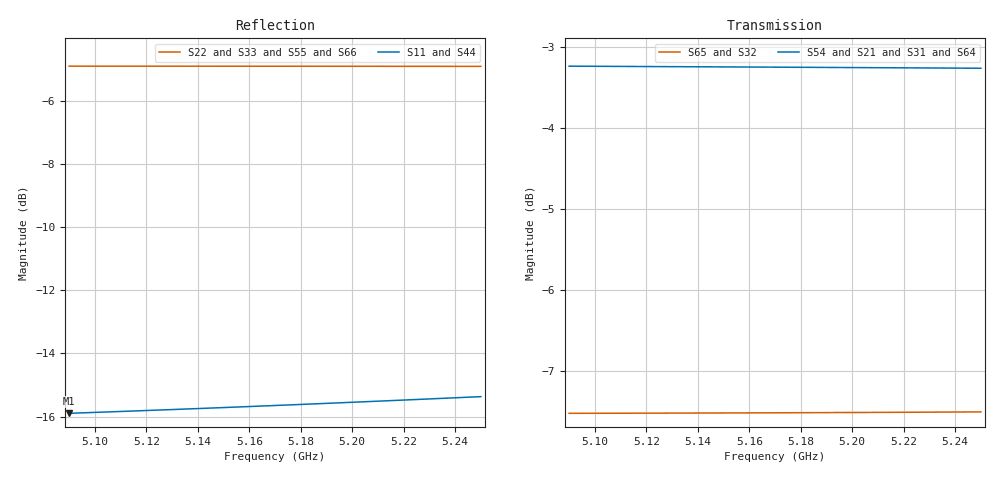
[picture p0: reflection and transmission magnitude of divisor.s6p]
! Touchstone file exported from HFSS 2024.2.0
!  File:  D:/dev/EMBRAER/P1H/R03_Estudo/ZYF265D/compacta/1x2/Compacta_ZYF265D_1x2.aedt
!  Generated:  11:23:07 PM Nov  6, 2026
!  Design:  Duplo_radial
!  Project:  Compacta_ZYF265D_1x2
!  Setup:  Divisor
!  Solution:  Banda
# GHz S RI R 50.000000
! Terminal data exported
! Port[1] = A_IN
! Port[2] = A1
! Port[3] = A2
! Port[4] = B_IN
! Port[5] = B1
! Port[6] = B2
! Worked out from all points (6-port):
!   17 points, 5.09 GHz to 5.25 GHz, reference 50 ohm
!   strongest paths, dB at 5.09 GHz, 5.13 GHz, 5.17 GHz, 5.21 GHz, 5.25 GHz:
!     S54: -3.2, -3.2, -3.2, -3.3, -3.3
!     S21: -3.2, -3.3, -3.3, -3.3, -3.3
!     S31: -3.3, -3.3, -3.3, -3.3, -3.3
!     S64: -3.3, -3.3, -3.3, -3.3, -3.3
!     S65: -7.5, -7.5, -7.5, -7.5, -7.5
!     S32: -7.5, -7.5, -7.5, -7.5, -7.5
!   lowest |S11| = -15.9 dB at 5.09 GHz (marker M1), VSWR 1.38, Z = 54.5 - j16.4 ohm
!   |S11| at or under -10 dB: start of sweep to end of sweep
